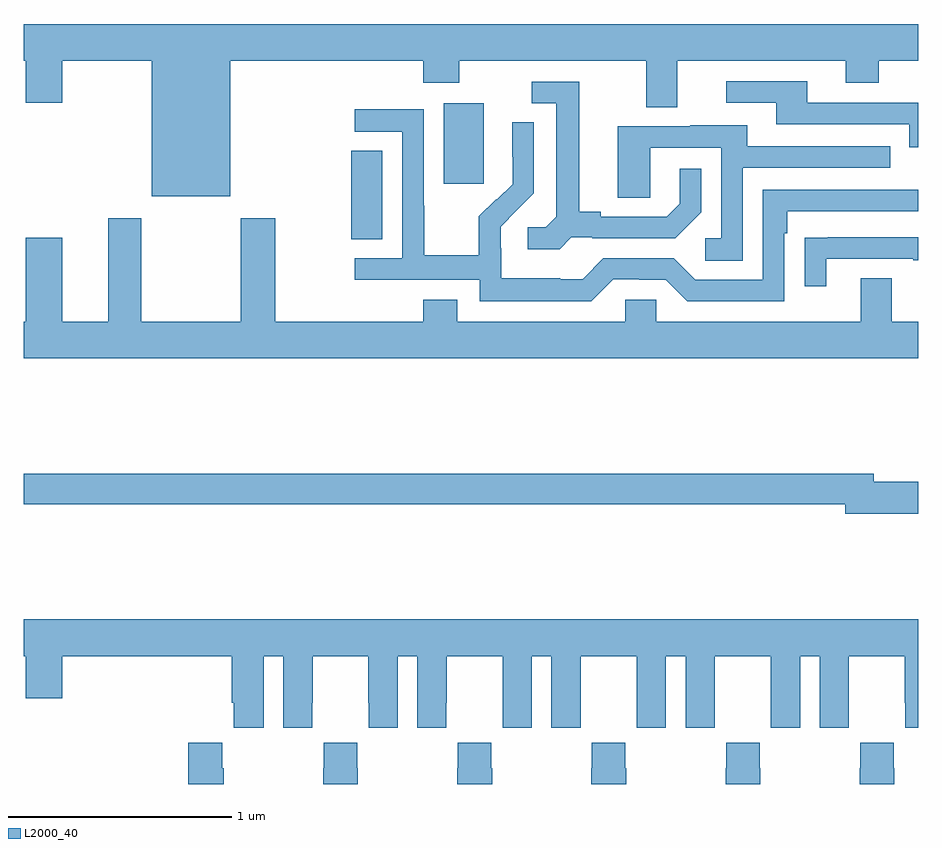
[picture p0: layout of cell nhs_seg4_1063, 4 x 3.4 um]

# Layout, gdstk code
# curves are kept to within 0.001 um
import gdstk
lib = gdstk.Library(unit=1e-6, precision=1e-09)
def R(c, l, rs):  # rectangles x0, y0, x1, y1
    for r in rs: c.add(gdstk.rectangle(r[:2], r[2:], *l))
def P(c, l, *ps):  # polygons
    for p in ps: c.add(gdstk.Polygon(p, *l))
L2000_40 = (2000, 40)

nhs_seg4_1063 = lib.new_cell('nhs_seg4_1063')
R(nhs_seg4_1063, L2000_40, [(166.465,813.337,166.603,813.734), (166.877,813.585,167.056,813.946)])
P(nhs_seg4_1063, L2000_40, [(165.922,814.136),(166.787,814.136),(166.787,814.037),(166.947,814.037),(166.947,814.136),(167.783,814.136),(167.783,813.928),(167.923,813.928),(167.923,814.136),(168.677,814.136),(168.677,814.037),(168.825,814.037),(168.825,814.136),(169,814.136),(169,814.3),(165,814.3),(165,814.136),(165.008,814.136),(165.008,813.948),(165.172,813.948),(165.172,814.136),(165.572,814.136),(165.572,813.53),(165.922,813.53)],
  [(169,813.948),(168.505,813.948),(168.505,814.044),(168.141,814.044),(168.141,813.948),(168.365,813.948),(168.365,813.852),(168.96,813.852),(168.96,813.749),(169,813.749)],
  [(167.448,813.345),(167.542,813.345),(167.542,813.342),(167.914,813.342),(168.03,813.458),(168.03,813.652),(167.933,813.652),(167.933,813.495),(167.876,813.438),(167.581,813.438),(167.581,813.461),(167.485,813.461),(167.485,814.041),(167.271,814.041),(167.271,813.945),(167.381,813.945),(167.381,813.437),(167.334,813.39),(167.253,813.39),(167.253,813.293),(167.396,813.293)],
  [(167.637,813.159),(167.753,813.159),(167.753,813.156),(167.871,813.156),(167.967,813.06),(168.402,813.06),(168.402,813.365),(168.415,813.365),(168.415,813.462),(169,813.462),(169,813.558),(168.306,813.558),(168.306,813.156),(168.003,813.156),(167.907,813.252),(167.592,813.252),(167.499,813.159),(167.399,813.159),(167.399,813.163),(167.136,813.163),(167.136,813.297),(167.134,813.297),(167.134,813.394),(167.28,813.542),(167.28,813.86),(167.184,813.86),(167.184,813.706),(167.186,813.706),(167.186,813.584),(167.115,813.513),(167.112,813.516),(167.035,813.439),(167.035,813.265),(166.791,813.265),(166.791,813.488),(166.788,813.488),(166.788,813.918),(166.479,813.918),(166.479,813.819),(166.692,813.819),(166.692,813.252),(166.479,813.252),(166.479,813.156),(167.04,813.156),(167.04,813.059),(167.537,813.059)],
  [(168.216,813.657),(168.875,813.657),(168.875,813.753),(168.235,813.753),(168.235,813.847),(167.981,813.847),(167.981,813.843),(167.657,813.843),(167.657,813.523),(167.802,813.523),(167.802,813.747),(168.12,813.747),(168.12,813.342),(168.048,813.342),(168.048,813.241),(168.216,813.241)],
  [(169,812.968),(168.883,812.968),(168.883,813.163),(168.743,813.163),(168.743,812.968),(167.829,812.968),(167.829,813.066),(167.691,813.066),(167.691,812.968),(166.939,812.968),(166.939,813.067),(166.787,813.067),(166.787,812.968),(166.125,812.968),(166.125,813.43),(165.97,813.43),(165.97,812.968),(165.525,812.968),(165.525,813.43),(165.377,813.43),(165.377,812.968),(165.172,812.968),(165.172,813.343),(165.008,813.343),(165.008,812.968),(165,812.968),(165,812.804),(169,812.804)],
  [(168.589,813.249),(168.979,813.249),(168.979,813.244),(169,813.244),(169,813.345),(168.595,813.345),(168.595,813.344),(168.493,813.344),(168.493,813.126),(168.589,813.126)],
  [(169,812.252),(168.802,812.252),(168.802,812.288),(165,812.288),(165,812.152),(168.674,812.152),(168.674,812.11),(169,812.11)],
  [(166.072,811.472),(166.16,811.472),(166.16,811.152),(166.29,811.152),(166.29,811.264),(166.291,811.264),(166.291,811.472),(166.541,811.472),(166.541,811.264),(166.542,811.264),(166.542,811.152),(166.672,811.152),(166.672,811.472),(166.76,811.472),(166.76,811.152),(166.89,811.152),(166.89,811.264),(166.891,811.264),(166.891,811.472),(167.141,811.472),(167.141,811.264),(167.142,811.264),(167.142,811.152),(167.272,811.152),(167.272,811.472),(167.36,811.472),(167.36,811.152),(167.49,811.152),(167.49,811.264),(167.491,811.264),(167.491,811.472),(167.741,811.472),(167.741,811.264),(167.742,811.264),(167.742,811.152),(167.872,811.152),(167.872,811.472),(167.96,811.472),(167.96,811.152),(168.09,811.152),(168.09,811.264),(168.091,811.264),(168.091,811.472),(168.341,811.472),(168.341,811.264),(168.342,811.264),(168.342,811.152),(168.472,811.152),(168.472,811.472),(168.56,811.472),(168.56,811.152),(168.69,811.152),(168.69,811.264),(168.691,811.264),(168.691,811.472),(168.941,811.472),(168.941,811.264),(168.942,811.264),(168.942,811.152),(169,811.152),(169,811.636),(165,811.636),(165,811.472),(165.008,811.472),(165.008,811.284),(165.172,811.284),(165.172,811.472),(165.929,811.472),(165.929,811.264),(165.938,811.264),(165.938,811.152),(166.072,811.152)],
  [(165.894,810.971),(165.887,810.971),(165.887,811.084),(165.734,811.084),(165.734,810.9),(165.894,810.9)],
  [(166.494,810.971),(166.491,810.971),(166.491,811.084),(166.341,811.084),(166.341,810.971),(166.339,810.971),(166.339,810.9),(166.494,810.9)],
  [(167.094,810.971),(167.091,810.971),(167.091,811.084),(166.941,811.084),(166.941,810.971),(166.939,810.971),(166.939,810.9),(167.094,810.9)],
  [(167.694,810.971),(167.691,810.971),(167.691,811.084),(167.541,811.084),(167.541,810.971),(167.539,810.971),(167.539,810.9),(167.694,810.9)],
  [(168.294,810.971),(168.291,810.971),(168.291,811.084),(168.141,811.084),(168.141,810.971),(168.139,810.971),(168.139,810.9),(168.294,810.9)],
  [(168.894,810.971),(168.891,810.971),(168.891,811.084),(168.741,811.084),(168.741,810.971),(168.739,810.971),(168.739,810.9),(168.894,810.9)])

lib.write_gds('nhs_seg4_1063.gds')
